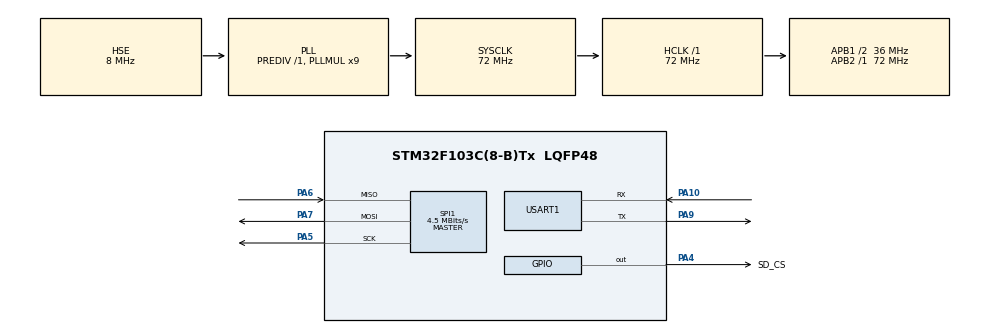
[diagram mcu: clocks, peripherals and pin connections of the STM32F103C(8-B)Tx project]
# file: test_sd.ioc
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Mcu.Family=STM32F1
Mcu.Name=STM32F103C(8-B)Tx
Mcu.Package=LQFP48
NVIC.PriorityGroup=NVIC_PRIORITYGROUP_4
PA10.Mode=Asynchronous
PA10.Signal=USART1_RX
PA13.Mode=Serial_Wire
PA13.Signal=SYS_JTMS-SWDIO
PA14.Mode=Serial_Wire
PA14.Signal=SYS_JTCK-SWCLK
PA4.GPIO_Label=SD_CS
PA4.PinState=GPIO_PIN_SET
PA4.Signal=GPIO_Output
PA5.Mode=Full_Duplex_Master
PA5.Signal=SPI1_SCK
PA6.Mode=Full_Duplex_Master
PA6.Signal=SPI1_MISO
PA7.Mode=Full_Duplex_Master
PA7.Signal=SPI1_MOSI
PA9.Mode=Asynchronous
PA9.Signal=USART1_TX
PD0-OSC_IN.Mode=HSE-External-Oscillator
PD0-OSC_IN.Signal=RCC_OSC_IN
PD1-OSC_OUT.Mode=HSE-External-Oscillator
PD1-OSC_OUT.Signal=RCC_OSC_OUT
ProjectManager.HeapSize=0x200
ProjectManager.StackSize=0x400
ProjectManager.TargetToolchain=STM32CubeIDE
RCC.AHBFreq_Value=72000000
RCC.APB1CLKDivider=RCC_HCLK_DIV2
RCC.APB1Freq_Value=36000000
RCC.APB1TimFreq_Value=72000000
RCC.APB2Freq_Value=72000000
RCC.APB2TimFreq_Value=72000000
RCC.HCLKFreq_Value=72000000
RCC.PLLMUL=RCC_PLL_MUL9
RCC.PLLSourceVirtual=RCC_PLLSOURCE_HSE
RCC.SYSCLKFreq_VALUE=72000000
RCC.SYSCLKSource=RCC_SYSCLKSOURCE_PLLCLK
RCC.USBFreq_Value=72000000
SPI1.BaudRatePrescaler=SPI_BAUDRATEPRESCALER_16
SPI1.CalculateBaudRate=4.5 MBits/s
SPI1.Direction=SPI_DIRECTION_2LINES
SPI1.Mode=SPI_MODE_MASTER
SPI1.VirtualType=VM_MASTER
USART1.VirtualMode=VM_ASYNC
VP_FATFS_VS_Generic.Mode=User_defined
board=custom

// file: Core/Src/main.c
/* USER CODE BEGIN Header */
/**
  ******************************************************************************
  * @file           : main.c
  * @brief          : Main program body
  ******************************************************************************
  * @attention
  *
  * Copyright (c) 2026 STMicroelectronics.
  * All rights reserved.
  *
  * This software is licensed under terms that can be found in the LICENSE file
  * in the root directory of this software component.
  * If no LICENSE file comes with this software, it is provided AS-IS.
  *
  ******************************************************************************
  */
/* USER CODE END Header */
#include "main.h"
#include "fatfs.h"
#include "spi.h"
#include "usart.h"
#include "gpio.h"

/* USER CODE BEGIN Includes */
#include <stdio.h>
#include <stdarg.h>
#include <string.h>
/* USER CODE END Includes */

void SystemClock_Config(void);
/* USER CODE BEGIN PFP */
void UART_Printf(const char *format, ...);
const char* fresult_to_string(FRESULT fr);
/* USER CODE END PFP */

/* USER CODE BEGIN 0 */
void UART_Printf(const char *format, ...)
{
    char buffer[256];
    va_list args;
    va_start(args, format);
    vsnprintf(buffer, sizeof(buffer), format, args);
    va_end(args);
    HAL_UART_Transmit(&huart1, (uint8_t*)buffer, strlen(buffer), 1000);
}

const char* fresult_to_string(FRESULT fr)
{
    switch(fr) {
        case FR_OK:                  return "FR_OK (Thanh cong)";
        case FR_DISK_ERR:            return "FR_DISK_ERR (Loi doc/ghi the nho - SPI hardware error)";
        case FR_INT_ERR:             return "FR_INT_ERR (Loi noi bo FatFS)";
        case FR_NOT_READY:           return "FR_NOT_READY (The SD chua san sang hoac khong nhan the)";
        case FR_NO_FILE:             return "FR_NO_FILE (Khong tim thay tap tin)";
        case FR_NO_PATH:             return "FR_NO_PATH (Khong tim thay duong dan)";
        case FR_INVALID_NAME:        return "FR_INVALID_NAME (Ten file khong hop le)";
        case FR_DENIED:              return "FR_DENIED (Quyen truy cap bi tu choi)";
        case FR_EXIST:               return "FR_EXIST (File da ton tai)";
        case FR_INVALID_OBJECT:      return "FR_INVALID_OBJECT (Doi tuong khong hop le)";
        case FR_WRITE_PROTECTED:     return "FR_WRITE_PROTECTED (The bi khoa che do ghi)";
        case FR_INVALID_DRIVE:       return "FR_INVALID_DRIVE (O dia khong hop le)";
        case FR_NOT_ENABLED:         return "FR_NOT_ENABLED (Chua mount volume)";
        case FR_NO_FILESYSTEM:       return "FR_NO_FILESYSTEM (Khong co phan vung FAT/Can format the FAT32)";
        case FR_MKFS_ABORTED:        return "FR_MKFS_ABORTED (Tao he thong tap tin that bai)";
        case FR_TIMEOUT:             return "FR_TIMEOUT (Het thoi gian cho)";
        case FR_LOCKED:              return "FR_LOCKED (File bi khoa boi tien trinh khac)";
        case FR_NOT_ENOUGH_CORE:     return "FR_NOT_ENOUGH_CORE (Khong du RAM)";
        case FR_TOO_MANY_OPEN_FILES: return "FR_TOO_MANY_OPEN_FILES (Qua nhieu file mo cung luc)";
        case FR_INVALID_PARAMETER:   return "FR_INVALID_PARAMETER (Tham so khong hop le)";
        default:                     return "UNKNOWN_ERROR";
    }
}
/* USER CODE END 0 */

int main(void)
{

  /* MCU Configuration--------------------------------------------------------*/

  /* Reset of all peripherals, Initializes the Flash interface and the Systick. */
  HAL_Init();

  /* Configure the system clock */
  SystemClock_Config();

  /* Initialize all configured peripherals */
  MX_GPIO_Init();
  MX_SPI1_Init();
  MX_USART1_UART_Init();
  MX_FATFS_Init();

  /* USER CODE BEGIN 2 */
  UART_Printf("\r\n\r\n==================================================\r\n");
  UART_Printf("      STM32F103C8T6 - TEST MODULE MICROSD CARD     \r\n");
  UART_Printf("==================================================\r\n");
  UART_Printf("[INFO] Ket noi SPI: PA4(CS), PA5(SCK), PA6(MISO), PA7(MOSI)\r\n");
  UART_Printf("[INFO] Debug UART:  PA9(TX) @ 115200 bps\r\n");
  UART_Printf("[INFO] Onboard LED: PC13\r\n");
  UART_Printf("[INFO] Dang cho on dinh nguon the SD...\r\n");

  HAL_Delay(500);

  FATFS myFatFS;
  FIL myFile;
  FRESULT fresult;
  UINT bytesWritten = 0, bytesRead = 0;
  char writeBuffer[256];
  char readBuffer[256];
  uint8_t testSuccess = 0;

  /* 1. Mount the nho */
  UART_Printf("\r\n[STEP 1] Dang Mount the nho (f_mount)... \r\n");
  fresult = f_mount(&myFatFS, "", 1);
  UART_Printf("-> Ket qua: [%d] %s\r\n", fresult, fresult_to_string(fresult));

  if (fresult == FR_OK)
  {
      /* 2. Mo / Tao file test.txt */
      UART_Printf("\r\n[STEP 2] Dang mo/tao file 'test.txt' (f_open)... \r\n");
      fresult = f_open(&myFile, "test.txt", FA_CREATE_ALWAYS | FA_WRITE);
      UART_Printf("-> Ket qua: [%d] %s\r\n", fresult, fresult_to_string(fresult));

      if (fresult == FR_OK)
      {
          /* 3. Chuan bi du lieu va ghi vao file */
          snprintf(writeBuffer, sizeof(writeBuffer),
                   "STM32F103 ghi the SD thanh cong!\r\n"
                   "Thoi gian khoi dong: %lu ms\r\n"
                   "Kiem tra: SPI MicroSD Adapter hoat dong hoan hao.\r\n",
                   HAL_GetTick());

          UART_Printf("\r\n[STEP 3] Dang ghi du lieu vao file (f_write)... \r\n");
          UART_Printf("-> Noi dung ghi:\r\n%s", writeBuffer);
          fresult = f_write(&myFile, writeBuffer, strlen(writeBuffer), &bytesWritten);
          UART_Printf("-> Ket qua: [%d] %s (Da ghi: %u bytes)\r\n", fresult, fresult_to_string(fresult), bytesWritten);

          /* 4. Dong file de luu du lieu vao the */
          UART_Printf("\r\n[STEP 4] Dang dong file (f_close)... \r\n");
          fresult = f_close(&myFile);
          UART_Printf("-> Ket qua: [%d] %s\r\n", fresult, fresult_to_string(fresult));

          /* 5. Mo lai file o che do READ de kiem chung */
          UART_Printf("\r\n[STEP 5] Mo lai file 'test.txt' de doc kiem chung... \r\n");
          fresult = f_open(&myFile, "test.txt", FA_READ);
          if (fresult == FR_OK)
          {
              memset(readBuffer, 0, sizeof(readBuffer));
              fresult = f_read(&myFile, readBuffer, sizeof(readBuffer) - 1, &bytesRead);
              f_close(&myFile);

              UART_Printf("-> Doc ve %u bytes. Noi dung thuc te tren the:\r\n", bytesRead);
              UART_Printf("--------------------------------------------------\r\n");
              UART_Printf("%s", readBuffer);
              UART_Printf("--------------------------------------------------\r\n");

              if (bytesRead > 0 && strcmp(writeBuffer, readBuffer) == 0)
              {
                  testSuccess = 1;
                  UART_Printf(">>> XAC NHAN: Du lieu doc va ghi TRUNG KHOP 100%%! <<<\r\n");
              }
              else
              {
                  UART_Printf(">>> CANH BAO: Du lieu doc ve khac voi du lieu da ghi! <<<\r\n");
              }
          }
          else
          {
              UART_Printf("-> Khong the mo lai file de doc: [%d] %s\r\n", fresult, fresult_to_string(fresult));
          }
      }

      /* 6. Unmount */
      UART_Printf("\r\n[STEP 6] Unmount the nho... \r\n");
      fresult = f_mount(NULL, "", 1);
      UART_Printf("-> Ket qua: [%d] %s\r\n", fresult, fresult_to_string(fresult));
  }

  if (testSuccess)
  {
      UART_Printf("\r\n==================================================\r\n");
      UART_Printf("     KET QUA: TEST THE SD THANH CONG 100%%!        \r\n");
      UART_Printf("==================================================\r\n");
      UART_Printf("LED PC13 nhap nhay cham (500ms) bao hieu he thong OK.\r\n");
  }
  else
  {
      UART_Printf("\r\n==================================================\r\n");
      UART_Printf("            KET QUA: TEST CHUA DAT!               \r\n");
      UART_Printf("==================================================\r\n");
      UART_Printf("Huong dan khac phuc nhanh:\r\n");
      UART_Printf("1. Kiem tra so do chan:\r\n");
      UART_Printf("   - CS   -> PA4\r\n");
      UART_Printf("   - SCK  -> PA5\r\n");
      UART_Printf("   - MISO -> PA6\r\n");
      UART_Printf("   - MOSI -> PA7\r\n");
      UART_Printf("2. Kiem tra nguon VCC cua module:\r\n");
      UART_Printf("   - Neu module co IC hạ ap AMS1117 tren mach: Phai cap 5V vao VCC.\r\n");
      UART_Printf("   - Neu module chi co the breakout: Cap 3.3V vao VCC.\r\n");
      UART_Printf("3. Kiem tra the MicroSD:\r\n");
      UART_Printf("   - Phai duoc dinh dang dinh dang FAT32 (hoac FAT16).\r\n");
      UART_Printf("   - Dung luong khuyen dung: <= 32GB.\r\n");
      UART_Printf("LED PC13 nhap nhay nhanh (100ms) bao loi.\r\n");
  }
  /* USER CODE END 2 */

  /* Infinite loop */
  while (1)
  {

    /* USER CODE BEGIN 3 */
    HAL_GPIO_TogglePin(GPIOC, GPIO_PIN_13);
    if (testSuccess)
    {
      HAL_Delay(500);
    }
    else
    {
      HAL_Delay(100);
    }
  }
  /* USER CODE END 3 */
}

void SystemClock_Config(void)
{
  RCC_OscInitTypeDef RCC_OscInitStruct = {0};
  RCC_ClkInitTypeDef RCC_ClkInitStruct = {0};

  /** Initializes the RCC Oscillators according to the specified parameters
  * in the RCC_OscInitTypeDef structure.
  */
  RCC_OscInitStruct.OscillatorType = RCC_OSCILLATORTYPE_HSE;
  RCC_OscInitStruct.HSEState = RCC_HSE_ON;
  RCC_OscInitStruct.HSEPredivValue = RCC_HSE_PREDIV_DIV1;
  RCC_OscInitStruct.HSIState = RCC_HSI_ON;
  RCC_OscInitStruct.PLL.PLLState = RCC_PLL_ON;
  RCC_OscInitStruct.PLL.PLLSource = RCC_PLLSOURCE_HSE;
  RCC_OscInitStruct.PLL.PLLMUL = RCC_PLL_MUL9;
  if (HAL_RCC_OscConfig(&RCC_OscInitStruct) != HAL_OK)
  {
    Error_Handler();
  }

  /** Initializes the CPU, AHB and APB buses clocks
  */
  RCC_ClkInitStruct.ClockType = RCC_CLOCKTYPE_HCLK|RCC_CLOCKTYPE_SYSCLK
                              |RCC_CLOCKTYPE_PCLK1|RCC_CLOCKTYPE_PCLK2;
  RCC_ClkInitStruct.SYSCLKSource = RCC_SYSCLKSOURCE_PLLCLK;
  RCC_ClkInitStruct.AHBCLKDivider = RCC_SYSCLK_DIV1;
  RCC_ClkInitStruct.APB1CLKDivider = RCC_HCLK_DIV2;
  RCC_ClkInitStruct.APB2CLKDivider = RCC_HCLK_DIV1;

  if (HAL_RCC_ClockConfig(&RCC_ClkInitStruct, FLASH_LATENCY_2) != HAL_OK)
  {
    Error_Handler();
  }
}

void Error_Handler(void)
{
  __disable_irq();
  while (1)
  {
  }
}
